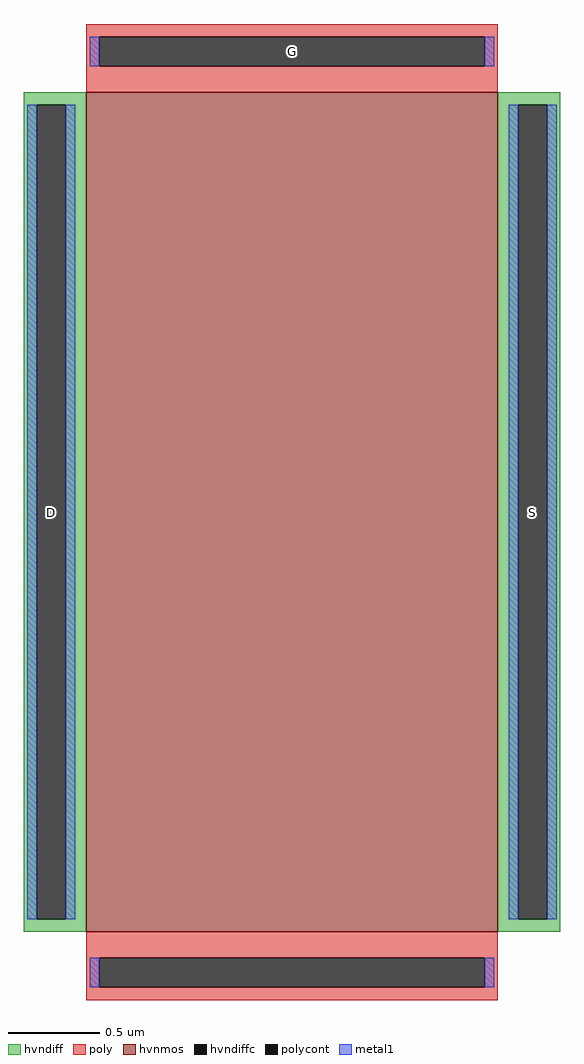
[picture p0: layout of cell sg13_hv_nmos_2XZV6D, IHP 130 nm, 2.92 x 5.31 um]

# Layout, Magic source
magic
tech ihp-sg13cmos5l
magscale 1 2
<< hvnmos >>
rect -224 -457 224 457
<< hvndiff >>
rect -292 443 -224 457
rect -292 -443 -278 443
rect -246 -443 -224 443
rect -292 -457 -224 -443
rect 224 443 292 457
rect 224 -443 246 443
rect 278 -443 292 443
rect 224 -457 292 -443
<< hvndiffc >>
rect -278 -443 -246 443
rect 246 -443 278 443
<< poly >>
rect -224 517 224 531
rect -224 485 -210 517
rect 210 485 224 517
rect -224 457 224 485
rect -224 -485 224 -457
rect -224 -517 -210 -485
rect 210 -517 224 -485
rect -224 -531 224 -517
<< polycont >>
rect -210 485 210 517
rect -210 -517 210 -485
<< metal1 >>
rect -220 485 -210 517
rect 210 485 220 517
rect -288 -443 -278 443
rect -246 -443 -236 443
rect 236 -443 246 443
rect 278 -443 288 443
rect -220 -517 -210 -485
rect 210 -517 220 -485
<< labels >>
rlabel hvndiffc -262 0 -262 0 0 D
port 124 nsew
rlabel hvndiffc 262 0 262 0 0 S
port 125 nsew
rlabel polycont 0 501 0 501 0 G
port 126 nsew
<< properties >>
string gencell sg13_hv_nmos
string library sg13cmos5l
string parameters w 4.565 l 2.235 m 1 ng 1 diffcov 100 polycov 100 guard 0 glc 1 grc 1 gtc 1 gbc 1 tbcov 100 rlcov 100 topc 1 botc 1 poverlap 0 doverlap 1 lmin 0.45 wmin 0.15 class mosfet compatible {sg13_lv_nmos sg13_hv_nmos} full_metal 1 conn_gates 0 gate_ring 0 doports 1 viasrc 0 viadrn 0 viagate 0 ccols 1 viagb 0 viagr 0 viagl 0 viagt 0
<< end >>
